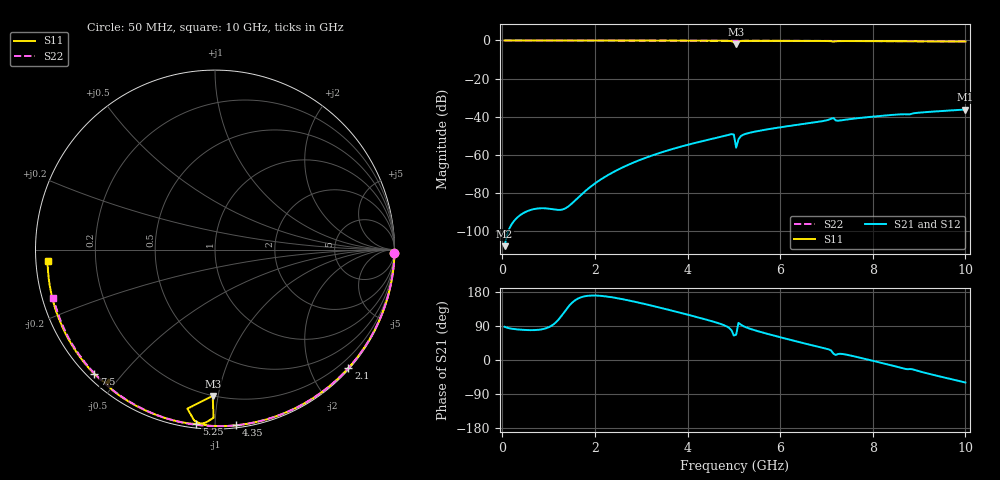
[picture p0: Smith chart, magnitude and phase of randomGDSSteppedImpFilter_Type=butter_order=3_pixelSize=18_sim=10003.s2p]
! freq	dB(S11)	phase(S11)	dB(S12)	phase(S12)
!  dB(S21)	phase(S21)	dB(S22)	phase(S22)
!S-par simulation data
#  GHz  S  DB  R 50
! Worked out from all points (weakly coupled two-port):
!   200 points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, 50 MHz to 10 GHz, reference 50 ohm
!   highest |S21| = -36.25 dB at 10 GHz (marker M1); lowest = -108.0 dB at 50 MHz (marker M2)
!   lowest |S11| = -1.8 dB at 5.05 GHz (marker M3), VSWR 9.81, Z = 9.94 - j48.2 ohm
!   |S11| at or under -10 dB: nowhere
!   |S22| runs from -0.5 to 0.0 dB; largest |S21 - S12| = 0
!   S11 on the Smith chart (normalised r, x): 50 MHz: open; 2.1 GHz: 0.02, -2.63; 4.35 GHz: 0.02, -1.13; 5.25 GHz: 0.02, -0.90; 7.5 GHz: 0.02, -0.42; 10 GHz: 0.03, -0.03
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0.05  -0.00 -1.0  -107.96 87.5  -107.96 87.5  -0.00 -0.9
0.85  -0.02 -17.1  -88.05 80.9  -88.05 80.9  -0.02 -15.9
1.75  -0.04 -34.8  -79.93 167.3  -79.93 167.3  -0.04 -32.4
2.1  -0.05 -41.6  -73.39 169.5  -73.39 169.5  -0.05 -38.7
2.7  -0.07 -53.0  -65.48 158.0  -65.48 158.0  -0.06 -49.4
3.4  -0.09 -65.9  -59.02 138.3  -59.02 138.3  -0.08 -61.4
4.35  -0.12 -83.2  -52.67 108.4  -52.67 108.4  -0.11 -77.3
4.9  -0.23 -94.8  -49.45 84.6  -49.45 84.6  -0.13 -86.2
4.95  -0.36 -96.9  -49.13 78.5  -49.13 78.5  -0.13 -87.0
5  -0.92 -99.8  -49.35 64.6  -49.35 64.6  -0.13 -87.8
5.05  -1.78 -90.9  -56.25 66.8  -56.25 66.8  -0.14 -88.6
5.1  -0.57 -90.5  -51.91 97.9  -51.91 97.9  -0.14 -89.3
5.15  -0.31 -93.0  -50.23 93.4  -50.23 93.4  -0.14 -90.1
5.25  -0.20 -96.2  -49.05 86.9  -49.05 86.9  -0.14 -91.7
6.7  -0.24 -121.7  -43.14 38.5  -43.14 38.5  -0.22 -114.0
7.15  -0.59 -129.3  -40.72 16.8  -40.72 16.8  -0.25 -120.7
7.2  -0.46 -128.6  -41.93 13.3  -41.93 13.3  -0.26 -121.4
7.25  -0.35 -129.6  -42.12 15.9  -42.12 15.9  -0.26 -122.2
7.5  -0.31 -134.2  -41.27 12.3  -41.27 12.3  -0.28 -125.9
8.35  -0.38 -148.2  -39.21 -12.5  -39.21 -12.5  -0.36 -138.5
9.2  -0.48 -162.3  -37.51 -36.1  -37.51 -36.1  -0.44 -151.2
10  -0.58 -176.2  -36.25 -59.4  -36.25 -59.4  -0.54 -163.4
